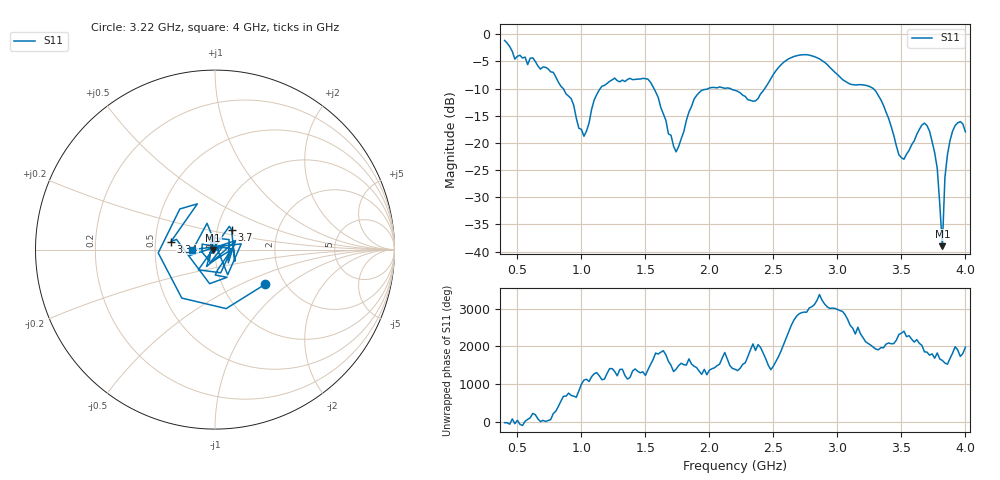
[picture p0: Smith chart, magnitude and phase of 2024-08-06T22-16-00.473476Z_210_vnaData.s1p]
!Created with skrf (http://scikit-rf.org).
# Hz S RI R 50.0
!freq ReS11 ImS11
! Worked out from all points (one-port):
!   181 points, 400 MHz to 4 GHz, reference 50 ohm
!   lowest |S11| = -39.0 dB at 3.82 GHz (marker M1), VSWR 1.02, Z = 48.9 - j0.191 ohm
!   |S11| at or under -10 dB: 858.7 MHz to 1.147 GHz (288.1 MHz wide, 28.7 % of centre); 1.567 GHz to 1.99 GHz (423.1 MHz wide, 23.8 % of centre); 3.281 GHz to end of sweep (the widest 3 of 4)
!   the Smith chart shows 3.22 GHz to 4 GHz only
!   S11 on the Smith chart (normalised r, x): 3.22 GHz: 1.59, -0.69; 3.34 GHz: 0.60, +0.06; 3.7 GHz: 1.17, +0.27; 4 GHz: 0.78, +0.00
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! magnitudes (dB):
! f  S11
! 400 MHz  -1.1
! 480 MHz  -4.6
! 620 MHz  -4.3
! 860 MHz  -10.0
! 1.02 GHz  -18.8
! 1.14 GHz  -10.2
! 1.3 GHz  -8.7
! 1.52 GHz  -8.3
! 1.6 GHz  -11.6
! 1.74 GHz  -21.6
! 1.76 GHz  -20.6
! 1.92 GHz  -10.7
! 2.2 GHz  -10.3
! 2.36 GHz  -12.3
! 2.66 GHz  -4.1
! 2.86 GHz  -4.5
! 3.1 GHz  -9.2
! 3.22 GHz  -9.4
! 3.34 GHz  -12.1
! 3.48 GHz  -22.2
! 3.56 GHz  -21.4
! 3.7 GHz  -16.8
! 3.78 GHz  -24.7
! 3.82 GHz  -39.0
! 3.84 GHz  -26.4
! 3.88 GHz  -19.5
! 3.94 GHz  -16.3
! 4 GHz  -18.0
